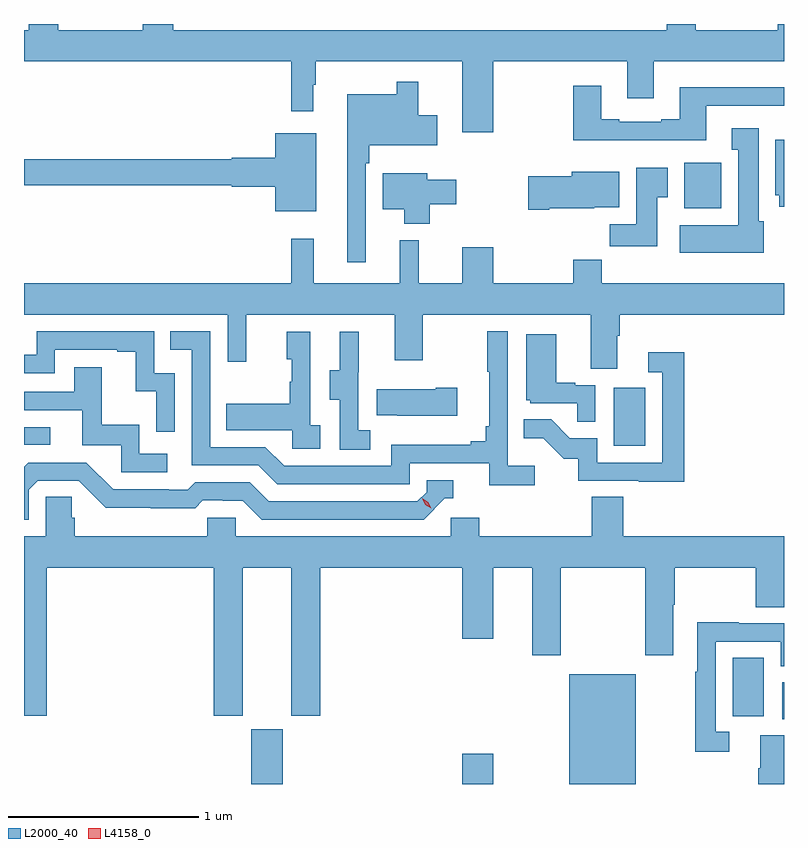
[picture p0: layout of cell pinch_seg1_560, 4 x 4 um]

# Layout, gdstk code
import gdstk
lib = gdstk.Library(unit=1e-6, precision=1e-09)
def R(c, l, rs):  # rectangles x0, y0, x1, y1
    for r in rs: c.add(gdstk.rectangle(r[:2], r[2:], *l))
def P(c, l, *ps):  # polygons
    for p in ps: c.add(gdstk.Polygon(p, *l))
L2000_40 = (2000, 40)
L4158_0 = (4158, 0)

pinch_seg1_560 = lib.new_cell('pinch_seg1_560')
R(pinch_seg1_560, L2000_40, [(1062.998,521.289,1063.162,521.577), (1064.108,521.289,1064.272,521.449), (1064.672,521.289,1065.022,521.866), (1065.792,521.631,1065.801,521.825), (1065.53,521.645,1065.694,521.953), (1064.906,523.068,1065.07,523.375), (1061.801,523.074,1061.938,523.167), (1065.275,524.318,1065.472,524.56)])
P(pinch_seg1_560, L2000_40, [(1062.587,525.289),(1062.427,525.289),(1062.427,525.256),(1061.982,525.256),(1061.982,525.289),(1061.827,525.289),(1061.827,525.256),(1061.801,525.256),(1061.801,525.092),(1063.207,525.092),(1063.207,524.829),(1063.324,524.829),(1063.324,524.969),(1063.336,524.969),(1063.336,525.092),(1064.108,525.092),(1064.108,524.718),(1064.272,524.718),(1064.272,525.092),(1064.975,525.092),(1064.975,524.898),(1065.115,524.898),(1065.115,525.092),(1065.801,525.092),(1065.801,525.289),(1065.767,525.289),(1065.767,525.256),(1065.337,525.256),(1065.337,525.289),(1065.185,525.289),(1065.185,525.256),(1062.587,525.256)],
  [(1063.599,524.555),(1063.619,524.555),(1063.619,524.651),(1063.975,524.651),(1063.975,524.809),(1063.875,524.809),(1063.875,524.986),(1063.764,524.986),(1063.764,524.92),(1063.502,524.92),(1063.502,524.034),(1063.599,524.034)],
  [(1065.391,524.859),(1065.801,524.859),(1065.801,524.956),(1065.251,524.956),(1065.251,524.788),(1065.155,524.788),(1065.155,524.775),(1064.935,524.775),(1064.935,524.788),(1064.839,524.788),(1064.839,524.965),(1064.692,524.965),(1064.692,524.678),(1065.391,524.678)],
  [(1065.694,524.25),(1065.667,524.25),(1065.667,524.74),(1065.527,524.74),(1065.527,524.627),(1065.56,524.627),(1065.56,524.23),(1065.251,524.23),(1065.251,524.084),(1065.694,524.084)],
  [(1063.339,524.713),(1063.124,524.713),(1063.124,524.584),(1062.894,524.584),(1062.894,524.576),(1061.801,524.576),(1061.801,524.44),(1062.894,524.44),(1062.894,524.432),(1063.124,524.432),(1063.124,524.303),(1063.339,524.303)],
  [(1065.801,524.68),(1065.755,524.68),(1065.755,524.388),(1065.776,524.388),(1065.776,524.328),(1065.801,524.328)],
  [(1065.133,524.377),(1065.19,524.377),(1065.19,524.533),(1065.023,524.533),(1065.023,524.236),(1064.884,524.236),(1064.884,524.118),(1065.133,524.118)],
  [(1064.566,524.318),(1064.802,524.318),(1064.802,524.324),(1064.935,524.324),(1064.935,524.512),(1064.684,524.512),(1064.684,524.489),(1064.454,524.489),(1064.454,524.311),(1064.566,524.311)],
  [(1063.937,524.341),(1064.077,524.341),(1064.077,524.47),(1063.924,524.47),(1063.924,524.503),(1063.688,524.503),(1063.688,524.315),(1063.802,524.315),(1063.802,524.237),(1063.937,524.237)],
  [(1064.923,523.648),(1064.936,523.648),(1064.936,523.76),(1065.801,523.76),(1065.801,523.924),(1064.843,523.924),(1064.843,524.048),(1064.692,524.048),(1064.692,523.924),(1064.272,523.924),(1064.272,524.113),(1064.108,524.113),(1064.108,523.924),(1063.878,523.924),(1063.878,524.152),(1063.778,524.152),(1063.778,523.924),(1063.325,523.924),(1063.325,524.158),(1063.207,524.158),(1063.207,523.924),(1061.801,523.924),(1061.801,523.76),(1062.873,523.76),(1062.873,523.512),(1062.971,523.512),(1062.971,523.76),(1063.751,523.76),(1063.751,523.52),(1063.899,523.52),(1063.899,523.76),(1064.783,523.76),(1064.783,523.474),(1064.923,523.474)],
  [(1064.488,522.964),(1064.346,522.964),(1064.346,523.672),(1064.238,523.672),(1064.238,523.459),(1064.249,523.459),(1064.249,523.171),(1064.23,523.171),(1064.23,523.094),(1064.153,523.094),(1064.153,523.075),(1063.734,523.075),(1063.734,522.963),(1063.17,522.963),(1063.071,523.062),(1062.78,523.062),(1062.78,523.671),(1062.571,523.671),(1062.571,523.575),(1062.684,523.575),(1062.684,522.966),(1063.034,522.966),(1063.133,522.867),(1063.83,522.867),(1063.83,522.978),(1064.249,522.978),(1064.249,522.862),(1064.488,522.862)],
  [(1062.594,523.452),(1062.486,523.452),(1062.486,523.671),(1061.868,523.671),(1061.868,523.548),(1061.801,523.548),(1061.801,523.452),(1061.964,523.452),(1061.964,523.575),(1062.293,523.575),(1062.293,523.563),(1062.389,523.563),(1062.389,523.355),(1062.498,523.355),(1062.498,523.143),(1062.594,523.143)],
  [(1063.624,523.151),(1063.56,523.151),(1063.56,523.455),(1063.562,523.455),(1063.562,523.669),(1063.463,523.669),(1063.463,523.467),(1063.409,523.467),(1063.409,523.312),(1063.464,523.312),(1063.464,523.048),(1063.624,523.048)],
  [(1063.36,523.178),(1063.308,523.178),(1063.308,523.669),(1063.184,523.669),(1063.184,523.524),(1063.21,523.524),(1063.21,523.406),(1063.2,523.406),(1063.2,523.291),(1062.865,523.291),(1062.865,523.151),(1063.212,523.151),(1063.212,523.053),(1063.36,523.053)],
  [(1064.808,523.389),(1064.702,523.389),(1064.702,523.402),(1064.602,523.402),(1064.602,523.657),(1064.444,523.657),(1064.444,523.308),(1064.466,523.308),(1064.466,523.293),(1064.713,523.293),(1064.713,523.195),(1064.808,523.195)],
  [(1065.275,523.561),(1065.087,523.561),(1065.087,523.455),(1065.159,523.455),(1065.159,522.981),(1064.817,522.981),(1064.817,523.11),(1064.673,523.11),(1064.575,523.208),(1064.431,523.208),(1064.431,523.109),(1064.535,523.109),(1064.642,523.002),(1064.719,523.002),(1064.719,522.885),(1065.037,522.885),(1065.037,522.88),(1065.275,522.88)],
  [(1062.556,523.026),(1062.408,523.026),(1062.408,523.18),(1062.209,523.18),(1062.209,523.483),(1062.065,523.483),(1062.065,523.353),(1061.801,523.353),(1061.801,523.257),(1062.107,523.257),(1062.107,523.071),(1062.312,523.071),(1062.312,522.93),(1062.556,522.93)],
  [(1064.08,523.374),(1063.967,523.374),(1063.967,523.366),(1063.657,523.366),(1063.657,523.229),(1063.765,523.229),(1063.765,523.226),(1064.08,523.226)],
  [(1061.826,522.837),(1061.874,522.885),(1062.09,522.885),(1062.232,522.743),(1062.468,522.743),(1062.468,522.741),(1062.701,522.741),(1062.743,522.783),(1062.846,522.783),(1062.846,522.78),(1062.953,522.78),(1063.052,522.681),(1063.905,522.681),(1064.016,522.792),(1064.059,522.792),(1064.059,522.888),(1063.92,522.888),(1063.92,522.825),(1063.872,522.777),(1063.089,522.777),(1062.99,522.876),(1062.701,522.876),(1062.662,522.837),(1062.563,522.837),(1062.563,522.84),(1062.27,522.84),(1062.129,522.981),(1061.823,522.981),(1061.801,522.959),(1061.801,522.681),(1061.826,522.681)],
  [(1061.921,522.428),(1062.8,522.428),(1062.8,521.649),(1062.952,521.649),(1062.952,522.428),(1063.208,522.428),(1063.208,521.649),(1063.361,521.649),(1063.361,522.428),(1064.108,522.428),(1064.108,522.054),(1064.272,522.054),(1064.272,522.428),(1064.477,522.428),(1064.477,521.967),(1064.625,521.967),(1064.625,522.428),(1065.07,522.428),(1065.07,521.967),(1065.217,521.967),(1065.217,522.232),(1065.225,522.232),(1065.225,522.428),(1065.652,522.428),(1065.652,522.22),(1065.801,522.22),(1065.801,522.592),(1064.954,522.592),(1064.954,522.8),(1064.789,522.8),(1064.789,522.592),(1064.198,522.592),(1064.198,522.69),(1064.046,522.69),(1064.046,522.592),(1062.915,522.592),(1062.915,522.69),(1062.765,522.69),(1062.765,522.592),(1062.068,522.592),(1062.068,522.69),(1062.053,522.69),(1062.053,522.8),(1061.916,522.8),(1061.916,522.592),(1061.801,522.592),(1061.801,521.649),(1061.921,521.649)],
  [(1065.514,521.565),(1065.441,521.565),(1065.441,522.039),(1065.783,522.039),(1065.783,521.91),(1065.801,521.91),(1065.801,522.135),(1065.563,522.135),(1065.563,522.14),(1065.345,522.14),(1065.345,521.879),(1065.333,521.879),(1065.333,521.46),(1065.514,521.46)],
  [(1065.801,521.546),(1065.677,521.546),(1065.677,521.372),(1065.665,521.372),(1065.665,521.289),(1065.801,521.289)])
P(pinch_seg1_560, L4158_0, [(1063.944,522.74),(1063.914,522.759),(1063.897,522.792),(1063.897,522.792),(1063.898,522.792),(1063.928,522.773),(1063.944,522.74),(1063.944,522.74)])

lib.write_gds('pinch_seg1_560.gds')
